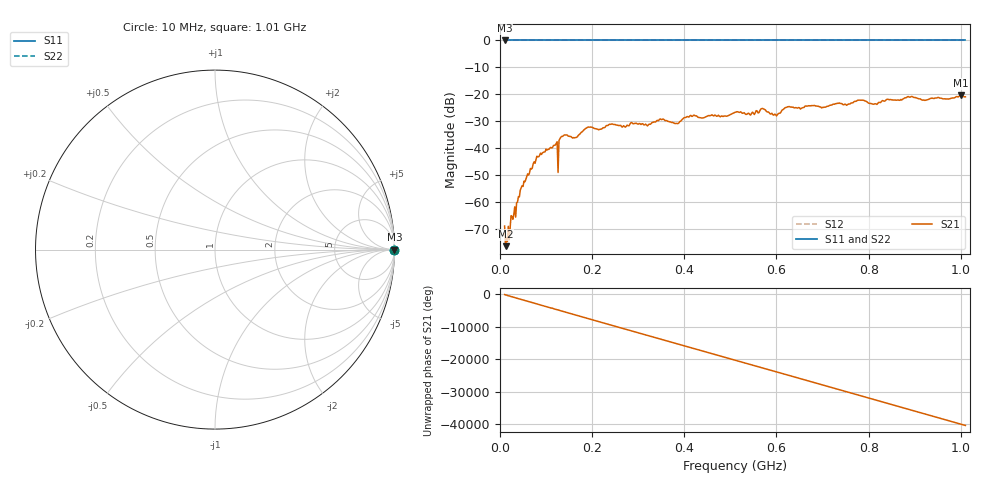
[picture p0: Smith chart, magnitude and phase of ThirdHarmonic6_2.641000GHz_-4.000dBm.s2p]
! 8/17/2025 5:57:54 AM
! C:\ANRITSUVNA\TEMP\TEMP.S2P
! CHANNEL.1
! TR.MEASUREMENT
! RAW.DATA
! RF.CORRECTION.OFF
! AVERAGING.OFF
! IF.BANDWIDTH: 5KHZ
! SWEEPTYPE:  FREQ.SWEEP(Linear)
! Reference Plane Port Info
! PORT:  PORT1  PORT2
! DISTANCE:  0  m  0  m
! TIME:  0  s  0  s
! PHASE.OFFSET:  0  deg.  0  deg.
! LOSS:  0  dB  0  dB
! REF.LOSS:  0  dB  0  dB
! REF.FREQ:  0  Hz  0  Hz
! Power Info
! POWER:  -20  dBm  -20  dBm
! EFF.POWER:  -20  dBm  -20  dBm
! SOURCE.ATTEN:  0  dB  0  dB
! TEST.ATTEN:  0  dB  0  dB
# GHZ S RI R 50.0
! FREQ.GHZ  S11RE  S11IM  S21RE  S21IM  S12RE  S12IM  S22RE  S22IM
!; PortSelection: Port_12
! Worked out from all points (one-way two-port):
!   501 points, 10 MHz to 1.01 GHz, reference 50 ohm
!   highest |S21| = -20.33 dB at 1 GHz (marker M1); lowest = -76.4 dB at 12 MHz (marker M2)
!   lowest |S11| = 0.0 dB at 10 MHz (marker M3)
!   |S11| at or under -10 dB: nowhere
!   |S22| runs from 0.0 to 0.0 dB; largest |S21 - S12| = 1.1
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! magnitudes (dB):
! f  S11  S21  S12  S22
! 10 MHz  0.0  -68.9  0.0  0.0
! 12 MHz  0.0  -76.4  0.0  0.0
! 16 MHz  0.0  -74.7  0.0  0.0
! 28 MHz  0.0  -66.4  0.0  0.0
! 48 MHz  0.0  -53.9  0.0  0.0
! 84 MHz  0.0  -43.2  0.0  0.0
! 120 MHz  0.0  -38.9  0.0  0.0
! 122 MHz  0.0  -38.2  0.0  0.0
! 136 MHz  0.0  -35.6  0.0  0.0
! 162 MHz  0.0  -36.2  0.0  0.0
! 178 MHz  0.0  -33.9  0.0  0.0
! 344 MHz  0.0  -29.8  0.0  0.0
! 384 MHz  0.0  -30.8  0.0  0.0
! 410 MHz  0.0  -28.4  0.0  0.0
! 510 MHz  0.0  -26.7  0.0  0.0
! 570 MHz  0.0  -25.3  0.0  0.0
! 598 MHz  0.0  -27.5  0.0  0.0
! 624 MHz  0.0  -24.7  0.0  0.0
! 678 MHz  0.0  -24.2  0.0  0.0
! 844 MHz  0.0  -22.0  0.0  0.0
! 1 GHz  0.0  -20.3  0.0  0.0
! 1.01 GHz  0.0  -20.9  0.0  0.0
